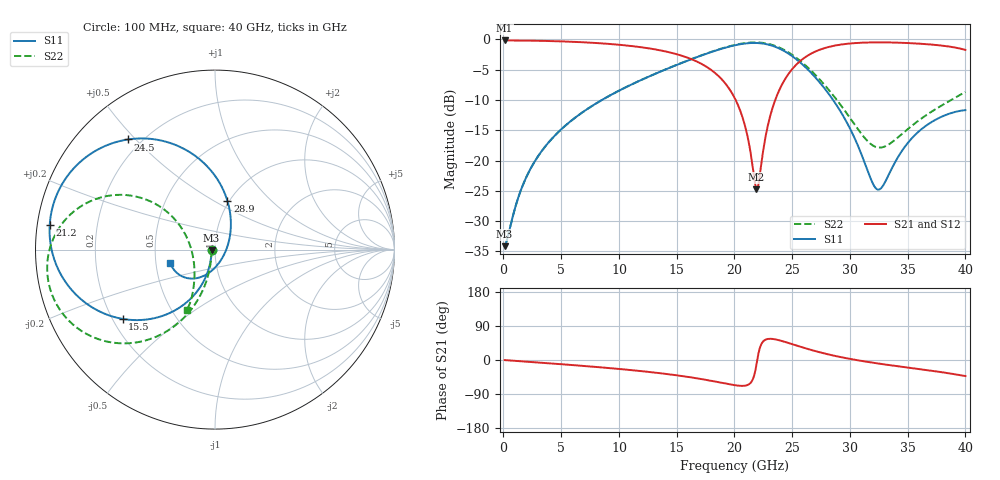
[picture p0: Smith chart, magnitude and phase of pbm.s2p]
! B_s8_L1L3_stub_d200: physics-based via model (prototype), ports at the via
# Hz S RI R 50
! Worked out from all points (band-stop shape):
!   400 points, 100 MHz to 40 GHz, reference 50 ohm
!   highest |S21| = -0.17 dB at 100 MHz (marker M1); lowest = -24.7 dB at 21.9 GHz (marker M2)
!   |S21| within 3 dB of the highest: start of sweep to 16.16 GHz; 25.96 GHz to end of sweep
!   lowest |S11| = -34.1 dB at 100 MHz (marker M3), VSWR 1.04, Z = 48.1 - j0.333 ohm
!   |S11| at or under -10 dB: start of sweep to 8.519 GHz; 28.54 GHz to end of sweep
!   |S22| runs from -34.1 to -0.5 dB; largest |S21 - S12| = 0
!   S11 on the Smith chart (normalised r, x): 100 MHz: 0.96, -0.01; 15.5 GHz: 0.24, -0.32; 21.2 GHz: 0.04, +0.07; 24.5 GHz: 0.15, +0.47; 28.9 GHz: 0.98, +0.58; 40 GHz: 0.59, -0.09
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1e8  -0.0194 -0.00346  0.9806 -0.00372  0.9806 -0.00372  -0.0194 -0.00349
1.3e9  -0.0221 -0.045  0.9784 -0.0483  0.9784 -0.0483  -0.0212 -0.0453
2.5e9  -0.0294 -0.0863  0.9721 -0.0928  0.9721 -0.0928  -0.0263 -0.0872
4.3e9  -0.0495 -0.1475  0.9551 -0.1593  0.9551 -0.1593  -0.0401 -0.1501
6.8e9  -0.0967 -0.2292  0.9146 -0.2504  0.9146 -0.2504  -0.0731 -0.2375
1.34e10  -0.3662 -0.3875  0.6767 -0.4607  0.6767 -0.4607  -0.2737 -0.4581
1.55e10  -0.5144 -0.3862  0.5387 -0.4937  0.5387 -0.4937  -0.396 -0.5085
1.8e10  -0.7324 -0.2882  0.3206 -0.4575  0.3206 -0.4575  -0.6017 -0.5124
2.01e10  -0.8959 -0.0535  0.1252 -0.2917  0.1252 -0.2917  -0.8108 -0.3994
2.12e10  -0.9209 0.1372  0.0623 -0.1341  0.0623 -0.1341  -0.8998 -0.2704
2.19e10  -0.8943 0.2721  0.0565 -0.0138  0.0565 -0.0138  -0.9306 -0.1639
2.21e10  -0.8794 0.3105  0.0612 0.022  0.0612 0.022  -0.9341 -0.131
2.26e10  -0.8276 0.4025  0.0865 0.1106  0.0865 0.1106  -0.9311 -0.0465
2.31e10  -0.7561 0.4838  0.131 0.194  0.131 0.194  -0.9102 0.0374
2.45e10  -0.4866 0.6134  0.336 0.3559  0.336 0.3559  -0.7671 0.2275
2.67e10  -0.0981 0.5132  0.6908 0.3379  0.6908 0.3379  -0.4566 0.2989
2.89e10  0.0688 0.2728  0.8843 0.1491  0.8843 0.1491  -0.2474 0.1928
3.22e10  0.059 -0.00917  0.9364 -0.1337  0.9364 -0.1337  -0.1299 -0.00724
3.27e10  0.0448 -0.0387  0.9306 -0.1701  0.9306 -0.1701  -0.1237 -0.0338
3.34e10  0.0218 -0.0746  0.9188 -0.2184  0.9188 -0.2184  -0.118 -0.0691
3.61e10  -0.0874 -0.1556  0.8393 -0.3803  0.8393 -0.3803  -0.1166 -0.1858
4e10  -0.2508 -0.072  0.6053 -0.5523  0.6053 -0.5523  -0.1572 -0.3338
